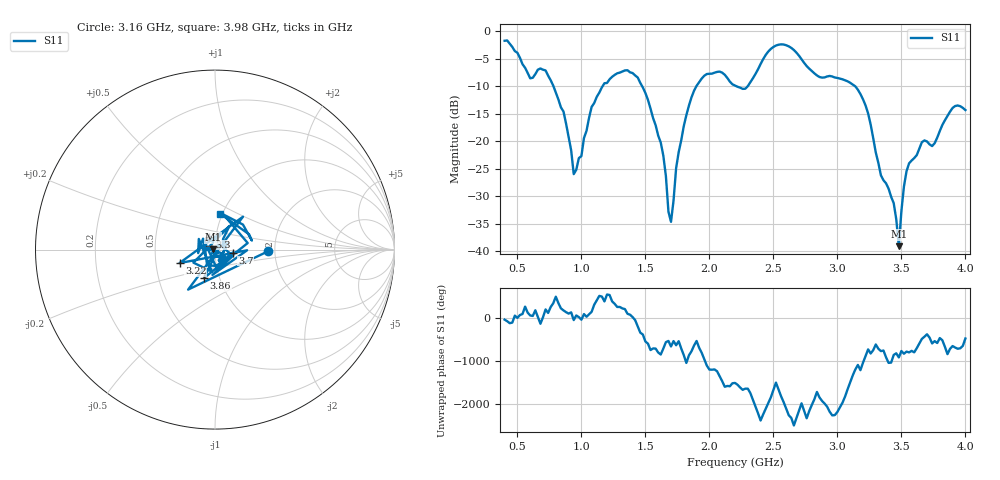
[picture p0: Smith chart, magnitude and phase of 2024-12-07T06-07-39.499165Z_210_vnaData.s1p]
!Created with skrf (http://scikit-rf.org).
# Hz S RI R 50.0
!freq ReS11 ImS11
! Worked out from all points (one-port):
!   181 points, 400 MHz to 4 GHz, reference 50 ohm
!   lowest |S11| = -39.1 dB at 3.48 GHz (marker M1), VSWR 1.02, Z = 48.9 + j0.153 ohm
!   |S11| at or under -10 dB: 781.8 MHz to 1.165 GHz (383.4 MHz wide, 39.4 % of centre); 1.475 GHz to 1.898 GHz (423.1 MHz wide, 25.1 % of centre); 3.139 GHz to end of sweep (the widest 3 of 4)
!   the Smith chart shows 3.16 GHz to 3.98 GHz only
!   S11 on the Smith chart (normalised r, x): 3.16 GHz: 1.83, -0.04; 3.22 GHz: 0.66, -0.10; 3.3 GHz: 0.93, +0.14; 3.7 GHz: 1.22, -0.04; 3.86 GHz: 0.84, -0.28; 3.98 GHz: 0.98, +0.41
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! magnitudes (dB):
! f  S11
! 400 MHz  -1.7
! 600 MHz  -8.5
! 720 MHz  -7.1
! 860 MHz  -14.6
! 940 MHz  -26.0
! 1.08 GHz  -13.7
! 1.3 GHz  -7.5
! 1.52 GHz  -12.5
! 1.64 GHz  -22.6
! 1.7 GHz  -34.7
! 1.76 GHz  -22.0
! 1.86 GHz  -12.0
! 1.94 GHz  -8.6
! 2.2 GHz  -9.9
! 2.5 GHz  -2.8
! 2.66 GHz  -3.4
! 3.1 GHz  -9.4
! 3.16 GHz  -10.6
! 3.22 GHz  -13.5
! 3.3 GHz  -22.1
! 3.44 GHz  -31.3
! 3.48 GHz  -39.1
! 3.52 GHz  -28.2
! 3.56 GHz  -24.0
! 3.7 GHz  -20.0
! 3.86 GHz  -15.4
! 3.98 GHz  -13.9
! 4 GHz  -14.3
